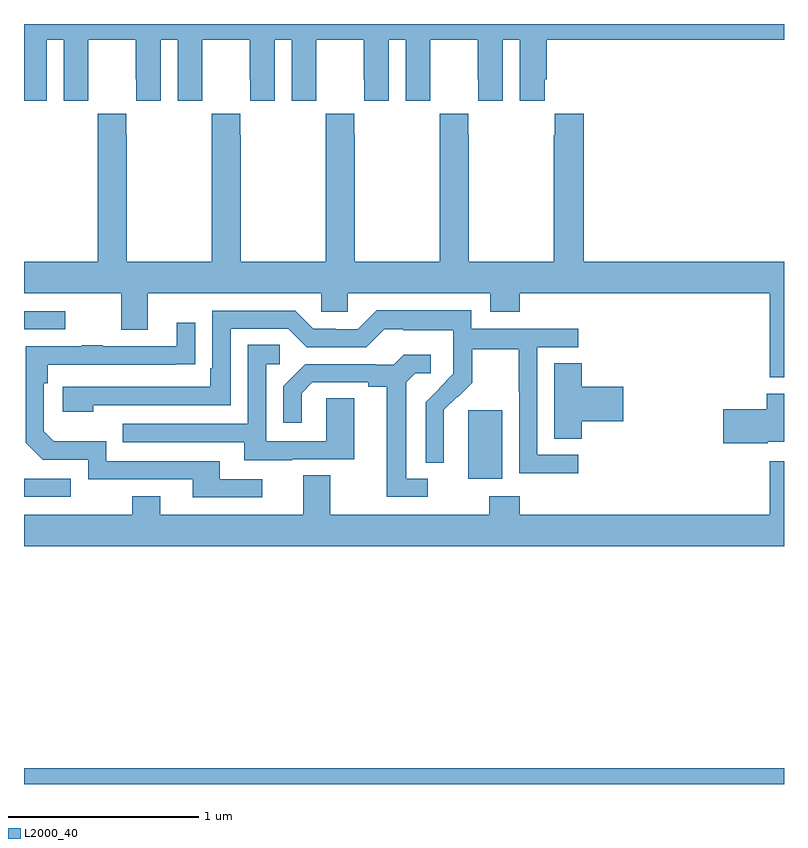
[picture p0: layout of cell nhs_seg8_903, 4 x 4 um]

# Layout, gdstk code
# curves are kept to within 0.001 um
import gdstk
lib = gdstk.Library(unit=1e-6, precision=1e-09)
def R(c, l, rs):  # rectangles x0, y0, x1, y1
    for r in rs: c.add(gdstk.rectangle(r[:2], r[2:], *l))
def P(c, l, *ps):  # polygons
    for p in ps: c.add(gdstk.Polygon(p, *l))
L2000_40 = (2000, 40)

nhs_seg8_903 = lib.new_cell('nhs_seg8_903')
R(nhs_seg8_903, L2000_40, [(169,1129.9,173,1129.984), (169,1131.411,169.246,1131.507), (171.338,1131.506,171.517,1131.867), (169,1132.293,169.216,1132.389)])
P(nhs_seg8_903, L2000_40, [(169,1133.496),(169.12,1133.496),(169.12,1133.816),(169.208,1133.816),(169.208,1133.496),(169.338,1133.496),(169.338,1133.608),(169.339,1133.608),(169.339,1133.816),(169.589,1133.816),(169.589,1133.608),(169.59,1133.608),(169.59,1133.496),(169.72,1133.496),(169.72,1133.816),(169.808,1133.816),(169.808,1133.496),(169.938,1133.496),(169.938,1133.608),(169.939,1133.608),(169.939,1133.816),(170.189,1133.816),(170.189,1133.608),(170.19,1133.608),(170.19,1133.496),(170.32,1133.496),(170.32,1133.816),(170.408,1133.816),(170.408,1133.496),(170.538,1133.496),(170.538,1133.608),(170.539,1133.608),(170.539,1133.816),(170.789,1133.816),(170.789,1133.608),(170.79,1133.608),(170.79,1133.496),(170.92,1133.496),(170.92,1133.816),(171.008,1133.816),(171.008,1133.496),(171.138,1133.496),(171.138,1133.608),(171.139,1133.608),(171.139,1133.816),(171.389,1133.816),(171.389,1133.608),(171.39,1133.608),(171.39,1133.496),(171.52,1133.496),(171.52,1133.816),(171.608,1133.816),(171.608,1133.496),(171.742,1133.496),(171.742,1133.608),(171.752,1133.608),(171.752,1133.816),(173,1133.816),(173,1133.9),(169,1133.9)],
  [(173,1132.648),(171.947,1132.648),(171.947,1133.428),(171.793,1133.428),(171.793,1133.315),(171.787,1133.315),(171.787,1132.648),(171.342,1132.648),(171.342,1133.315),(171.339,1133.315),(171.339,1133.428),(171.189,1133.428),(171.189,1133.315),(171.187,1133.315),(171.187,1132.648),(170.742,1132.648),(170.742,1133.315),(170.739,1133.315),(170.739,1133.428),(170.589,1133.428),(170.589,1133.315),(170.587,1133.315),(170.587,1132.648),(170.142,1132.648),(170.142,1133.315),(170.139,1133.315),(170.139,1133.428),(169.989,1133.428),(169.989,1133.315),(169.987,1133.315),(169.987,1132.648),(169.542,1132.648),(169.542,1133.315),(169.539,1133.315),(169.539,1133.428),(169.389,1133.428),(169.389,1133.315),(169.387,1133.315),(169.387,1132.648),(169,1132.648),(169,1132.484),(169.511,1132.484),(169.511,1132.29),(169.651,1132.29),(169.651,1132.484),(170.565,1132.484),(170.565,1132.386),(170.703,1132.386),(170.703,1132.484),(171.455,1132.484),(171.455,1132.385),(171.608,1132.385),(171.608,1132.484),(172.926,1132.484),(172.926,1132.04),(173,1132.04)],
  [(171.916,1131.633),(171.702,1131.633),(171.702,1132.2),(171.916,1132.2),(171.916,1132.296),(171.354,1132.296),(171.354,1132.393),(170.857,1132.393),(170.757,1132.293),(170.642,1132.293),(170.642,1132.296),(170.523,1132.296),(170.427,1132.392),(169.992,1132.392),(169.992,1132.087),(169.979,1132.087),(169.979,1131.99),(169.203,1131.99),(169.203,1131.86),(169.364,1131.86),(169.364,1131.894),(170.088,1131.894),(170.088,1132.296),(170.391,1132.296),(170.487,1132.2),(170.802,1132.2),(170.895,1132.293),(170.995,1132.293),(170.995,1132.289),(171.258,1132.289),(171.258,1132.155),(171.26,1132.155),(171.26,1132.058),(171.114,1131.91),(171.114,1131.592),(171.21,1131.592),(171.209,1131.869),(171.279,1131.939),(171.282,1131.936),(171.359,1132.013),(171.359,1132.188),(171.604,1132.188),(171.604,1131.964),(171.606,1131.964),(171.606,1131.535),(171.916,1131.535)],
  [(170.254,1131.504),(170.029,1131.504),(170.029,1131.6),(169.434,1131.6),(169.434,1131.703),(169.157,1131.703),(169.104,1131.756),(169.104,1132.01),(169.124,1132.01),(169.124,1132.107),(169.901,1132.108),(169.901,1132.327),(169.805,1132.327),(169.805,1132.203),(169.415,1132.203),(169.415,1132.208),(169.303,1132.208),(169.303,1132.203),(169.008,1132.203),(169.008,1131.696),(169.098,1131.606),(169.338,1131.606),(169.338,1131.504),(169.889,1131.504),(169.889,1131.408),(170.254,1131.408)],
  [(170.413,1131.609),(170.737,1131.609),(170.737,1131.929),(170.592,1131.929),(170.592,1131.705),(170.274,1131.705),(170.274,1132.11),(170.347,1132.11),(170.347,1132.211),(170.178,1132.211),(170.178,1131.795),(169.519,1131.795),(169.519,1131.699),(170.159,1131.699),(170.159,1131.605),(170.413,1131.605)],
  [(171.124,1131.507),(171.013,1131.507),(171.013,1132.015),(171.06,1132.062),(171.142,1132.062),(171.142,1132.159),(170.998,1132.159),(170.946,1132.107),(170.852,1132.107),(170.852,1132.11),(170.48,1132.11),(170.364,1131.994),(170.364,1131.801),(170.461,1131.801),(170.461,1131.957),(170.518,1132.014),(170.813,1132.014),(170.813,1131.992),(170.909,1131.992),(170.909,1131.411),(171.124,1131.411)],
  [(171.935,1131.809),(172.153,1131.809),(172.153,1131.992),(171.935,1131.992),(171.935,1132.115),(171.791,1132.115),(171.791,1131.718),(171.935,1131.718)],
  [(172.914,1131.701),(173,1131.701),(173,1131.955),(172.91,1131.955),(172.91,1131.872),(172.68,1131.872),(172.68,1131.694),(172.914,1131.694)],
  [(173,1131.598),(172.926,1131.598),(172.926,1131.316),(171.608,1131.316),(171.608,1131.415),(171.448,1131.415),(171.448,1131.316),(170.611,1131.316),(170.611,1131.524),(170.471,1131.524),(170.471,1131.316),(169.717,1131.316),(169.717,1131.415),(169.57,1131.415),(169.57,1131.316),(169,1131.316),(169,1131.152),(173,1131.152)])

lib.write_gds('nhs_seg8_903.gds')
